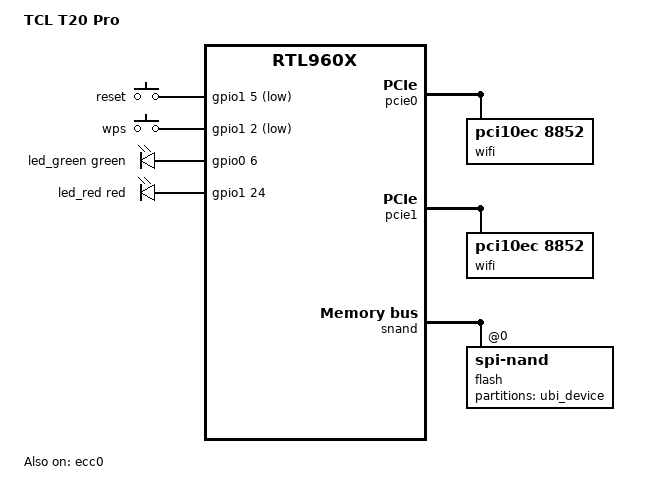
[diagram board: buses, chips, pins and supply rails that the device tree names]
// SPDX-License-Identifier: GPL-2.0-or-later OR MIT

/dts-v1/;

#include "rtl9607c-va.dtsi"
#include <dt-bindings/input/input.h>
#include <dt-bindings/leds/common.h>

/ {
	compatible = "tcl,t20-pro", "realtek,rtl8198d-soc", "realtek,rtl960x-soc";
	model = "TCL T20 Pro";

	aliases {
		led-boot = &led_red;
		led-failsafe = &led_red;
		led-running = &led_green;
		led-upgrade = &led_red;
	};

	chosen {
		bootargs = "earlycon ubi.mtd=ubi_device,2048 ubi.block=0,ubi_r1 root=/dev/ubiblock0_4";
	};

	keys {
		compatible = "gpio-keys";

		key-reset {
			label = "reset";
			gpios = <&gpio1 5 GPIO_ACTIVE_LOW>;
			linux,code = <KEY_RESTART>;
		};

		key-wps {
			label = "wps";
			gpios = <&gpio1 2 GPIO_ACTIVE_LOW>;
			linux,code = <KEY_WPS_BUTTON>;
		};
	};

	leds {
		compatible = "gpio-leds";

		led_green: led-0 {
			color = <LED_COLOR_ID_GREEN>;
			function = LED_FUNCTION_STATUS;
			gpios = <&gpio0 6 GPIO_ACTIVE_HIGH>;
		};

		led_red: led-1 {
			color = <LED_COLOR_ID_RED>;
			function = LED_FUNCTION_STATUS;
			gpios = <&gpio1 24 GPIO_ACTIVE_HIGH>;
			default-state = "on";
		};
	};
};

&mdio_ctrl {
	PHY_C22(0, 0)
	PHY_C22(1, 1)
	PHY_C22(2, 2)
	PHY_C22(3, 3)
};

&switch0 {
	ethernet-ports {
		SWITCH_PORT(0, 1, internal)
		SWITCH_PORT(1, 2, internal)
		SWITCH_PORT(2, 3, internal)
		port@3 {
			reg = <3>;
			label = "wan";
			phy-handle = <&phy3>;
			phy-mode = "internal";
		};
	};
};

&pcie0 {
	linux,pci-domain = <0>;
	status = "okay";

	wifi@1,0 {
		compatible = "pci10ec,8852";
		reg = <0x800 0 0 0 0>;
		ieee80211-freq-limit = <4900000 5925000>;
		realtek,efuse-file = "rtw89/tcl-t20-pro-5g-efuse.bin";
	};
};

&pcie1 {
	linux,pci-domain = <1>;
	status = "okay";

	wifi@1,0 {
		compatible = "pci10ec,8852";
		reg = <0x800 0 0 0 0>;
		ieee80211-freq-limit = <2400000 2500000>;
		realtek,efuse-file = "rtw89/tcl-t20-pro-2g-efuse.bin";
	};
};

&ecc0 {
	status = "okay";
};

&snand {
	status = "okay";

	flash@0 {
		compatible = "spi-nand";
		reg = <0>;
		nand-ecc-engine = <&ecc0>;
		nand-ecc-strength = <6>;
		nand-ecc-step-size = <512>;
		nand-ecc-algo = "bch";
		nand-ecc-placement = "oob";

		partitions {
			compatible = "fixed-partitions";
			#address-cells = <1>;
			#size-cells = <1>;

			/* Keep U-Boot and both environments outside Linux MTD. */
			partition@100000 {
				label = "ubi_device";
				reg = <0x100000 0x7c80000>;
			};
		};
	};
};
